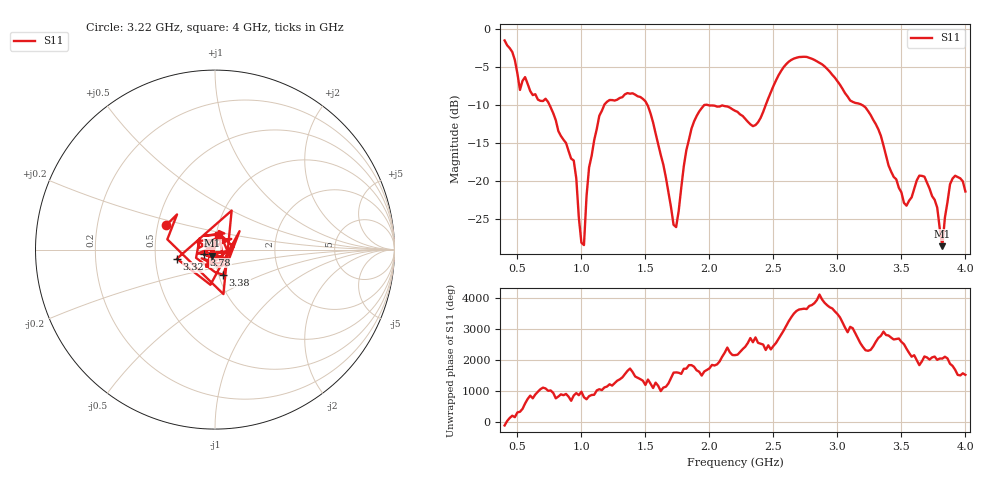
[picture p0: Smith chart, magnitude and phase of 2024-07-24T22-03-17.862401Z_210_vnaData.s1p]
!Created with skrf (http://scikit-rf.org).
# Hz S RI R 50.0
!freq ReS11 ImS11
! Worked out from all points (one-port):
!   181 points, 400 MHz to 4 GHz, reference 50 ohm
!   lowest |S11| = -28.6 dB at 3.82 GHz (marker M1), VSWR 1.08, Z = 48.4 - j3.28 ohm
!   |S11| at or under -10 dB: 1.516 GHz to 1.959 GHz (443.6 MHz wide, 25.5 % of centre); 1.988 GHz to 2.44 GHz (451.8 MHz wide, 20.4 % of centre); 3.193 GHz to end of sweep (the widest 3 of 4)
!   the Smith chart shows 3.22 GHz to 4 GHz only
!   S11 on the Smith chart (normalised r, x): 3.22 GHz: 0.55, +0.17; 3.32 GHz: 0.65, -0.07; 3.38 GHz: 1.05, -0.30; 3.78 GHz: 0.88, -0.05; 4 GHz: 1.02, +0.17
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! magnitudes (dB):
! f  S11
! 400 MHz  -1.5
! 520 MHz  -8.0
! 720 MHz  -9.2
! 860 MHz  -14.6
! 940 MHz  -17.3
! 1 GHz  -28.2
! 1.02 GHz  -28.5
! 1.06 GHz  -18.2
! 1.14 GHz  -11.4
! 1.3 GHz  -9.1
! 1.52 GHz  -10.1
! 1.72 GHz  -25.8
! 1.76 GHz  -24.0
! 1.82 GHz  -15.9
! 1.9 GHz  -11.5
! 2.2 GHz  -10.8
! 2.36 GHz  -12.6
! 2.66 GHz  -3.9
! 3.1 GHz  -9.4
! 3.22 GHz  -10.3
! 3.32 GHz  -13.2
! 3.38 GHz  -16.7
! 3.56 GHz  -22.6
! 3.66 GHz  -19.3
! 3.78 GHz  -23.5
! 3.82 GHz  -28.6
! 3.88 GHz  -20.5
! 4 GHz  -21.4
